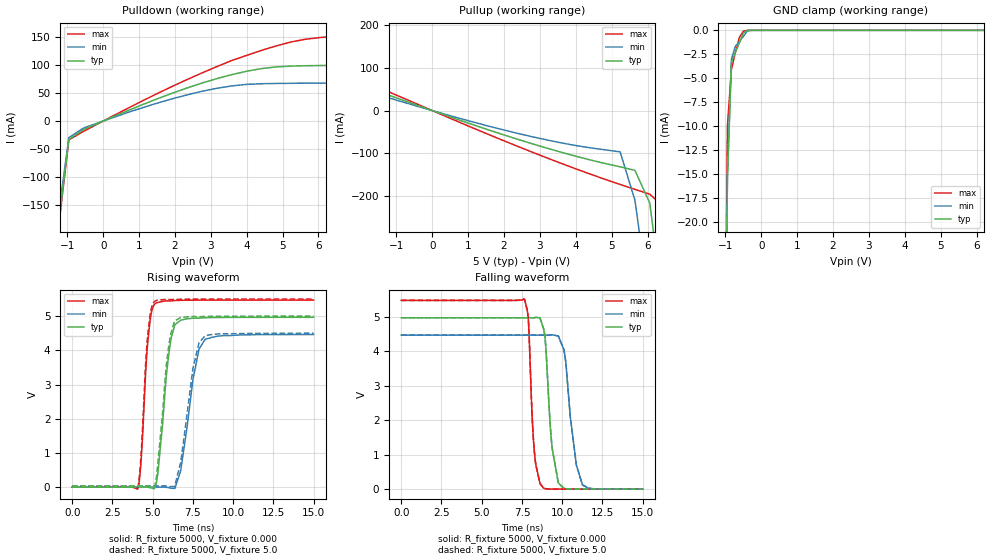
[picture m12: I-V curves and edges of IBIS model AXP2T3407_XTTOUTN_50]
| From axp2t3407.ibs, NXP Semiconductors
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|   Model AXP2T3407_XTTOUTN_50
[Model]   AXP2T3407_XTTOUTN_50
Model_type   Output
Polarity   Non-Inverting
Vmeas =  2.50V
Cref  =  5e-12
Rref  =  10e+3
Vref  =  0V
C_comp   1.9020pF   1.7190pF   2.0830pF
[Model Spec]
| Note: The input and output voltage ratings may be exceeded if the input and
|   output current ratings are observed (please refer to the data sheet)
|   Subparameter   typ   min   max
| Timing Thresholds
Vmeas   2.5   2.25   2.75
|Ambient temperature:   25   85   -40
[Temperature Range]   30   90   -35
[Voltage Range]   5.0   4.5   5.5
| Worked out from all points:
|   slope of the pulldown table from 0 to 0.75 V, typ, clamps not added: 37 ohm
|   slope of the pullup table from 0 to 0.75 V, typ, clamps not added: 34 ohm
|   GND clamp passes 1 mA (typ) near -0.58 V on its own axis
|   rising waveform, R_fixture 5000, V_fixture 0.000: 20-80 % time 584ps typ, 813ps min, 402ps max; typ from 0 V to 4.97 V
|   rising waveform, R_fixture 5000, V_fixture 5.0: 20-80 % time 579ps typ, 771ps min, 385ps max; typ from 0.033 V to 5 V
|   falling waveform, R_fixture 5000, V_fixture 0.000: 20-80 % time 449ps typ, 585ps min, 319ps max; typ from 4.97 V to 0 V
|   falling waveform, R_fixture 5000, V_fixture 5.0: 20-80 % time 449ps typ, 585ps min, 319ps max; typ from 4.97 V to 0 V
|Process Range   nominal   slow   fast
[GND_clamp]
|   voltage   I(typ)   I(min)   I(max)
-5.5V     -2.957A    -2.756A    -3.17A
-1.056V   -61.76mA   -55.78mA   -55.53mA
-944.4mV  -15.58mA   -15.37mA   -10.03mA
-833.3mV  -3.412mA   -3.047mA   -4.112mA
-722.2mV  -2.287mA   -1.662mA   -2.321mA
-611.1mV  -1.33mA    -1.186mA   -742.4uA
-500mV    -281.9uA   -644uA     -90.52uA
-388.9mV  -19.05uA   -70.75uA   -2.215uA
-277.8mV  -361.9nA   -2.29uA    -18.19nA
11V       0A         0A         0A
[Pulldown]
|   voltage   I(typ)   I(min)   I(max)
-5.5V     -2.959A    -2.757A    -3.174A
-1.371V   -249mA     -226mA     -259mA
-958mV    -32.8mA    -29.6mA    -33.6mA
-545mV    -15mA      -12.4mA    -18.3mA
2.345V    59.1mA     46.8mA     74.2mA
3.997V    88.8mA     65.4mA     117mA
4.823V    96.6mA     67mA       134mA
5.649V    98.6mA     67.5mA     146mA
6.474V    99.3mA     67.9mA     151mA
8.539V    102mA      71.5mA     154mA
10.08V    111mA      80.8mA     159mA
11V       121mA      89.4mA     168mA
[Pullup]
|   voltage   I(typ)   I(min)   I(max)
-5.5V     160.5mA    132.3mA    195.6mA
-2.61V    77.3mA     63.8mA     94.18mA
280.8mV   -8.338mA   -6.782mA   -10.2mA
1.932V    -55.31mA   -44.22mA   -68.62mA
3.584V    -97.47mA   -75.54mA   -123.5mA
5.236V    -131.9mA   -96.86mA   -173.4mA
5.649V    -140.3mA   -210.2mA   -184.8mA
6.062V    -216.9mA   -462.6mA   -196.2mA
6.474V    -486.5mA   -727.7mA   -227.4mA
6.887V    -772.9mA   -996.5mA   -506.3mA
11V       -3.686A    -3.706A    -3.661A
[Ramp]
| variable   typ   min   max
dV/dt_r  3.0310E+00/5.7250E-10  2.7270E+00/7.8020E-10  3.3420E+00/4.0890E-10
dV/dt_f  3.0310E+00/4.3540E-10  2.7270E+00/5.8140E-10  3.3420E+00/3.2820E-10
R_load = 5000
[Rising Waveform]
R_fixture   = 5000
V_fixture   = 0.000
V_fixture_min = 0.000
V_fixture_max = 0.000
| time   V(typ)   V(min)   V(max)
0s        11.4nV     16.36nV    9.385nV
4.08ns    7.228uV    -590.7nV   -48.05mV
4.28ns    106.1uV    -358.6nV   774.7mV
4.7ns     -4.372mV   -2.457uV   4.265V
5.16ns    9.566mV    93.83uV    5.366V
6ns       3.888V     -15.87mV   5.446V
6.38ns    4.752V     -38.42mV   5.457V
7.88ns    4.942V     4.038V     5.468V
8.26ns    4.955V     4.321V     5.469V
15ns      4.967V     4.463V     5.47V
[Rising Waveform]
R_fixture   = 5000
V_fixture   = 5.0
V_fixture_min = 4.5
V_fixture_max = 5.5
| time   V(typ)   V(min)   V(max)
0s        33.05mV    36.56mV    29.64mV
4.06ns    33.05mV    36.56mV    -11.37mV
4.26ns    33.15mV    36.56mV    817.1mV
4.68ns    29.85mV    36.56mV    4.375V
5.14ns    67.37mV    36.65mV    5.436V
5.88ns    3.689V     29.32mV    5.49V
6.38ns    4.863V     44.56mV    5.49V
7.5ns     4.989V     3.47V      5.498V
8.26ns    4.991V     4.428V     5.499V
15ns      5V         4.5V       5.5V
[Falling Waveform]
R_fixture   = 5000
V_fixture   = 0.000
V_fixture_min = 0.000
V_fixture_max = 0.000
| time   V(typ)   V(min)   V(max)
0s        4.967V     4.463V     5.47V
7.66ns    4.967V     4.463V     5.499V
7.9ns     4.967V     4.463V     4.886V
8.16ns    4.967V     4.463V     1.863V
8.36ns    4.978V     4.463V     712.7mV
8.92ns    4.445V     4.463V     19.01mV
9.34ns    1.37V      4.471V     3.455mV
9.76ns    181mV      4.436V     3.513mV
11.26ns   2.479mV    124mV      639.2uV
15ns      16.51uV    488.4uV    470.5nV
[Falling Waveform]
R_fixture   = 5000
V_fixture   = 5.0
V_fixture_min = 4.5
V_fixture_max = 5.5
| time   V(typ)   V(min)   V(max)
0s        4.967V     4.463V     5.47V
7.66ns    4.967V     4.463V     5.499V
7.9ns     4.967V     4.463V     4.886V
8.16ns    4.967V     4.463V     1.863V
8.36ns    4.978V     4.463V     712.7mV
8.92ns    4.445V     4.463V     19.01mV
9.34ns    1.37V      4.471V     3.455mV
9.76ns    181mV      4.436V     3.513mV
11.26ns   2.479mV    124mV      639.2uV
15ns      16.51uV    488.4uV    470.5nV
